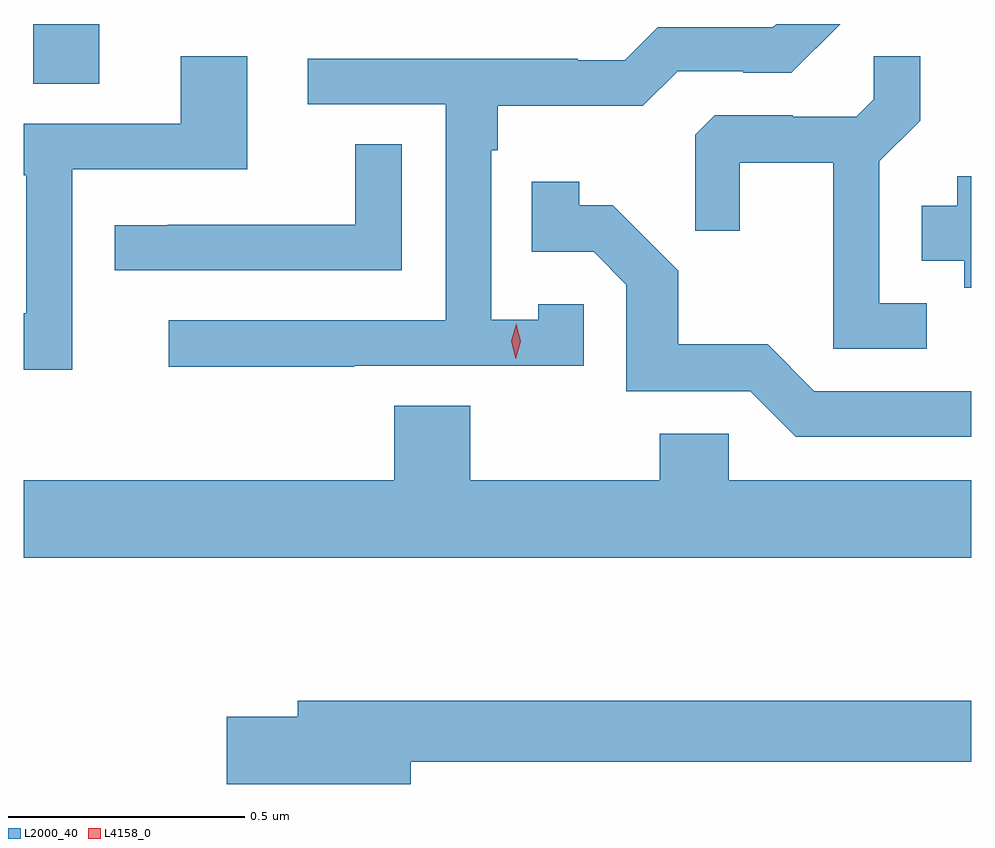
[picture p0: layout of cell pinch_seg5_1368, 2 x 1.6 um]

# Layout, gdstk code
import gdstk
lib = gdstk.Library(unit=1e-6, precision=1e-09)
def R(c, l, rs):  # rectangles x0, y0, x1, y1
    for r in rs: c.add(gdstk.rectangle(r[:2], r[2:], *l))
def P(c, l, *ps):  # polygons
    for p in ps: c.add(gdstk.Polygon(p, *l))
L2000_40 = (2000, 40)
L4158_0 = (4158, 0)

pinch_seg5_1368 = lib.new_cell('pinch_seg5_1368')
R(pinch_seg5_1368, L2000_40, [(309.671,897.721,309.811,897.847)])
P(pinch_seg5_1368, L2000_40, [(310.349,897.126),(310.833,897.126),(310.833,897.255),(310.737,897.255),(310.737,897.223),(310.638,897.223),(310.638,897.581),(310.651,897.581),(310.651,897.674),(310.958,897.674),(311.031,897.747),(311.17,897.747),(311.17,897.744),(311.271,897.744),(311.374,897.847),(311.239,897.847),(311.232,897.84),(310.989,897.84),(310.92,897.771),(310.82,897.771),(310.82,897.774),(310.251,897.774),(310.251,897.678),(310.542,897.678),(310.542,897.222),(309.957,897.222),(309.957,897.124),(310.349,897.124)],
  [(309.753,897.54),(310.123,897.54),(310.123,897.779),(309.983,897.779),(309.983,897.636),(309.651,897.636),(309.651,897.528),(309.656,897.528),(309.656,897.237),(309.651,897.237),(309.651,897.117),(309.753,897.117)],
  [(311.557,897.258),(311.457,897.258),(311.457,897.557),(311.543,897.643),(311.543,897.779),(311.445,897.779),(311.445,897.688),(311.408,897.651),(311.274,897.651),(311.274,897.654),(311.109,897.654),(311.068,897.613),(311.068,897.411),(311.162,897.411),(311.162,897.554),(311.36,897.554),(311.36,897.162),(311.557,897.162)],
  [(310.449,897.593),(310.351,897.593),(310.351,897.423),(309.955,897.423),(309.955,897.422),(309.843,897.422),(309.843,897.327),(310.449,897.327)],
  [(311.651,897.526),(311.621,897.526),(311.621,897.463),(311.546,897.463),(311.546,897.347),(311.636,897.347),(311.636,897.29),(311.651,897.29)],
  [(311.651,897.072),(311.319,897.072),(311.221,897.171),(311.032,897.171),(311.032,897.326),(310.894,897.464),(310.824,897.464),(310.824,897.514),(310.723,897.514),(310.723,897.366),(310.854,897.366),(310.923,897.297),(310.923,897.072),(311.184,897.072),(311.28,896.976),(311.651,896.976)],
  [(311.651,896.884),(311.139,896.884),(311.139,896.982),(310.993,896.982),(310.993,896.884),(310.593,896.884),(310.593,897.041),(310.433,897.041),(310.433,896.884),(309.651,896.884),(309.651,896.72),(311.651,896.72)],
  [(310.468,896.29),(311.651,896.29),(311.651,896.419),(310.229,896.419),(310.229,896.385),(310.08,896.385),(310.08,896.243),(310.468,896.243)])
P(pinch_seg5_1368, L4158_0, [(310.689,897.141),(310.689,897.141),(310.68,897.177),(310.691,897.213),(310.691,897.214),(310.691,897.213),(310.7,897.177),(310.69,897.141)])

lib.write_gds('pinch_seg5_1368.gds')
